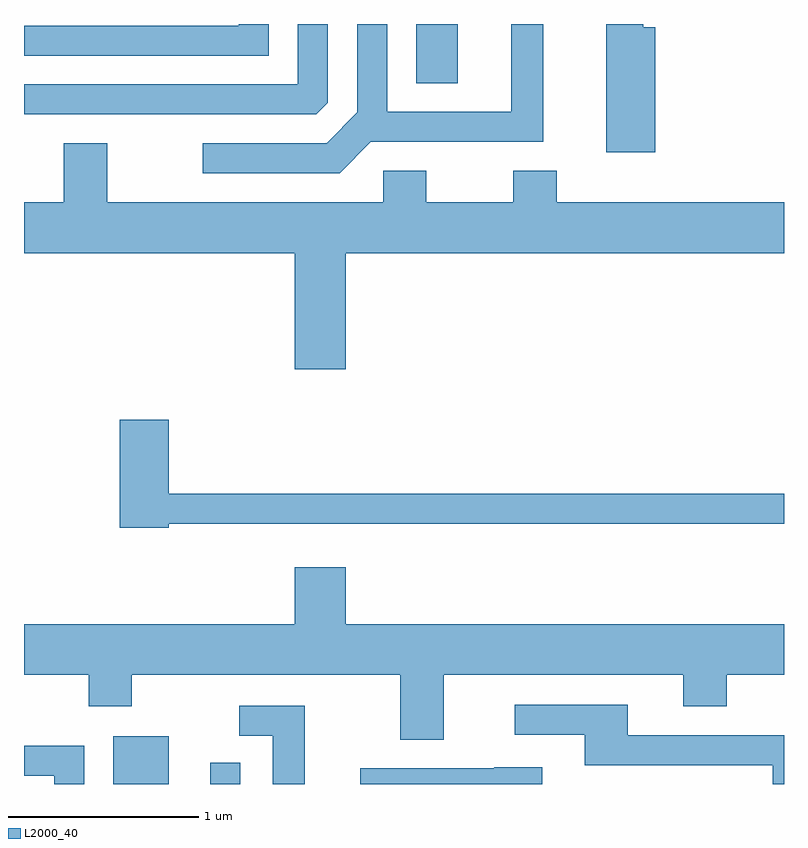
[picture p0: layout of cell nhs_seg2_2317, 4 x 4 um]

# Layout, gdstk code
import gdstk
lib = gdstk.Library(unit=1e-6, precision=1e-09)
def R(c, l, rs):  # rectangles x0, y0, x1, y1
    for r in rs: c.add(gdstk.rectangle(r[:2], r[2:], *l))
def P(c, l, *ps):  # polygons
    for p in ps: c.add(gdstk.Polygon(p, *l))
L2000_40 = (2000, 40)

nhs_seg2_2317 = lib.new_cell('nhs_seg2_2317')
R(nhs_seg2_2317, L2000_40, [(254.081,987.802,254.374,988.054), (254.591,987.802,254.749,987.913), (255.676,991.491,255.894,991.802)])
P(nhs_seg2_2317, L2000_40, [(254.899,991.802),(254.741,991.802),(254.741,991.794),(253.611,991.794),(253.611,991.636),(254.899,991.636)],
  [(256.934,991.784),(256.869,991.784),(256.869,991.802),(256.676,991.802),(256.676,991.126),(256.934,991.126)],
  [(255.209,991.387),(255.209,991.802),(255.051,991.802),(255.051,991.484),(253.611,991.484),(253.611,991.326),(255.149,991.326)],
  [(255.437,991.181),(256.344,991.181),(256.344,991.802),(256.176,991.802),(256.176,991.339),(255.524,991.339),(255.524,991.802),(255.366,991.802),(255.366,991.337),(255.204,991.174),(254.553,991.174),(254.553,991.016),(255.272,991.016)],
  [(255.304,990.596),(257.611,990.596),(257.611,990.864),(256.414,990.864),(256.414,991.029),(256.186,991.029),(256.186,990.864),(255.729,990.864),(255.729,991.029),(255.501,991.029),(255.501,990.864),(254.049,990.864),(254.049,991.174),(253.821,991.174),(253.821,990.864),(253.611,990.864),(253.611,990.596),(255.036,990.596),(255.036,989.986),(255.304,989.986)],
  [(254.374,989.171),(257.611,989.171),(257.611,989.329),(254.374,989.329),(254.374,989.719),(254.116,989.719),(254.116,989.151),(254.374,989.151)],
  [(255.819,988.376),(257.081,988.376),(257.081,988.211),(257.309,988.211),(257.309,988.376),(257.611,988.376),(257.611,988.644),(255.304,988.644),(255.304,988.944),(255.036,988.944),(255.036,988.644),(253.611,988.644),(253.611,988.376),(253.951,988.376),(253.951,988.211),(254.179,988.211),(254.179,988.376),(255.591,988.376),(255.591,988.036),(255.819,988.036)],
  [(257.611,988.059),(256.789,988.059),(256.789,988.219),(256.193,988.219),(256.193,988.061),(256.561,988.061),(256.561,987.901),(257.551,987.901),(257.551,987.802),(257.611,987.802)],
  [(255.089,988.214),(254.743,988.214),(254.743,988.056),(254.921,988.056),(254.921,987.802),(255.089,987.802)],
  [(253.929,988.004),(253.611,988.004),(253.611,987.846),(253.771,987.846),(253.771,987.802),(253.929,987.802)],
  [(256.339,987.889),(256.085,987.889),(256.085,987.884),(255.381,987.884),(255.381,987.802),(256.339,987.802)])

lib.write_gds('nhs_seg2_2317.gds')
